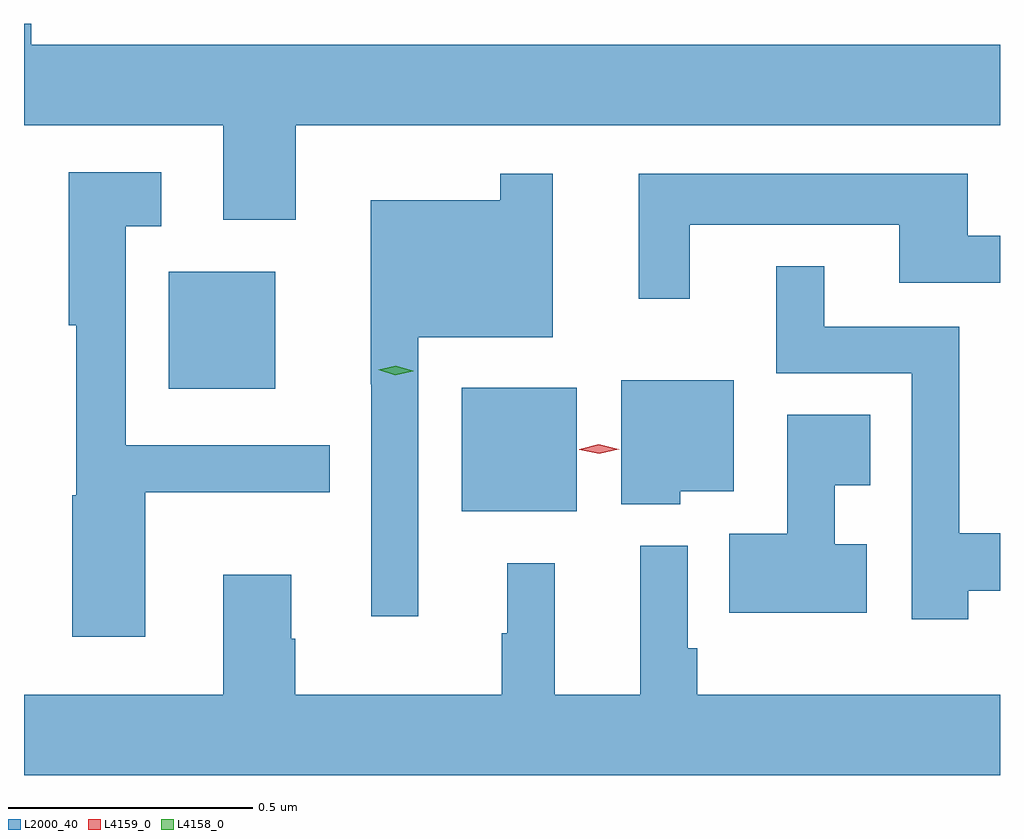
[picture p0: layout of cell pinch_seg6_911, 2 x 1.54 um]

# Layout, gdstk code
import gdstk
lib = gdstk.Library(unit=1e-6, precision=1e-09)
def R(c, l, rs):  # rectangles x0, y0, x1, y1
    for r in rs: c.add(gdstk.rectangle(r[:2], r[2:], *l))
def P(c, l, *ps):  # polygons
    for p in ps: c.add(gdstk.Polygon(p, *l))
L2000_40 = (2000, 40)
L4158_0 = (4158, 0)
L4159_0 = (4159, 0)

pinch_seg6_911 = lib.new_cell('pinch_seg6_911')
R(pinch_seg6_911, L2000_40, [(233.186,953.204,233.422,953.458), (232.586,953.456,232.804,953.695)])
P(pinch_seg6_911, L2000_40, [(232.846,953.996),(234.289,953.996),(234.289,954.16),(232.304,954.16),(232.304,954.203),(232.289,954.203),(232.289,953.996),(232.697,953.996),(232.697,953.802),(232.846,953.802)],
  [(232.537,953.243),(232.916,953.243),(232.916,953.34),(232.497,953.34),(232.497,953.789),(232.57,953.789),(232.57,953.899),(232.381,953.899),(232.381,953.586),(232.396,953.586),(232.396,953.237),(232.388,953.237),(232.388,952.947),(232.537,952.947)],
  [(233.097,953.561),(233.373,953.561),(233.373,953.896),(233.265,953.896),(233.265,953.842),(233,953.842),(233,953.465),(233.001,953.465),(233.001,952.989),(233.097,952.989)],
  [(233.653,953.792),(234.083,953.792),(234.083,953.673),(234.289,953.673),(234.289,953.769),(234.223,953.769),(234.223,953.896),(233.549,953.896),(233.549,953.64),(233.653,953.64)],
  [(234.224,953.042),(234.289,953.042),(234.289,953.159),(234.206,953.159),(234.206,953.583),(233.929,953.583),(233.929,953.707),(233.831,953.707),(233.831,953.487),(234.108,953.487),(234.108,952.983),(234.224,952.983)],
  [(233.634,953.246),(233.743,953.246),(233.743,953.473),(233.513,953.473),(233.513,953.219),(233.634,953.219)],
  [(234.016,953.137),(233.95,953.137),(233.95,953.258),(234.023,953.258),(234.023,953.402),(233.853,953.402),(233.853,953.158),(233.734,953.158),(233.734,952.997),(234.016,952.997)],
  [(234.289,952.828),(233.669,952.828),(233.669,952.924),(233.649,952.924),(233.649,953.134),(233.552,953.134),(233.552,952.828),(233.377,952.828),(233.377,953.098),(233.279,953.098),(233.279,952.955),(233.268,952.955),(233.268,952.828),(232.845,952.828),(232.845,952.943),(232.837,952.943),(232.837,953.074),(232.697,953.074),(232.697,952.828),(232.289,952.828),(232.289,952.664),(234.289,952.664)])
P(pinch_seg6_911, L4158_0, [(233.05,953.483),(233.015,953.494),(233.015,953.494),(233.015,953.494),(233.051,953.503),(233.087,953.492),(233.087,953.491),(233.087,953.491)])
P(pinch_seg6_911, L4159_0, [(233.468,953.322),(233.427,953.331),(233.427,953.331),(233.427,953.332),(233.467,953.342),(233.508,953.332),(233.509,953.332),(233.508,953.332)])

lib.write_gds('pinch_seg6_911.gds')
